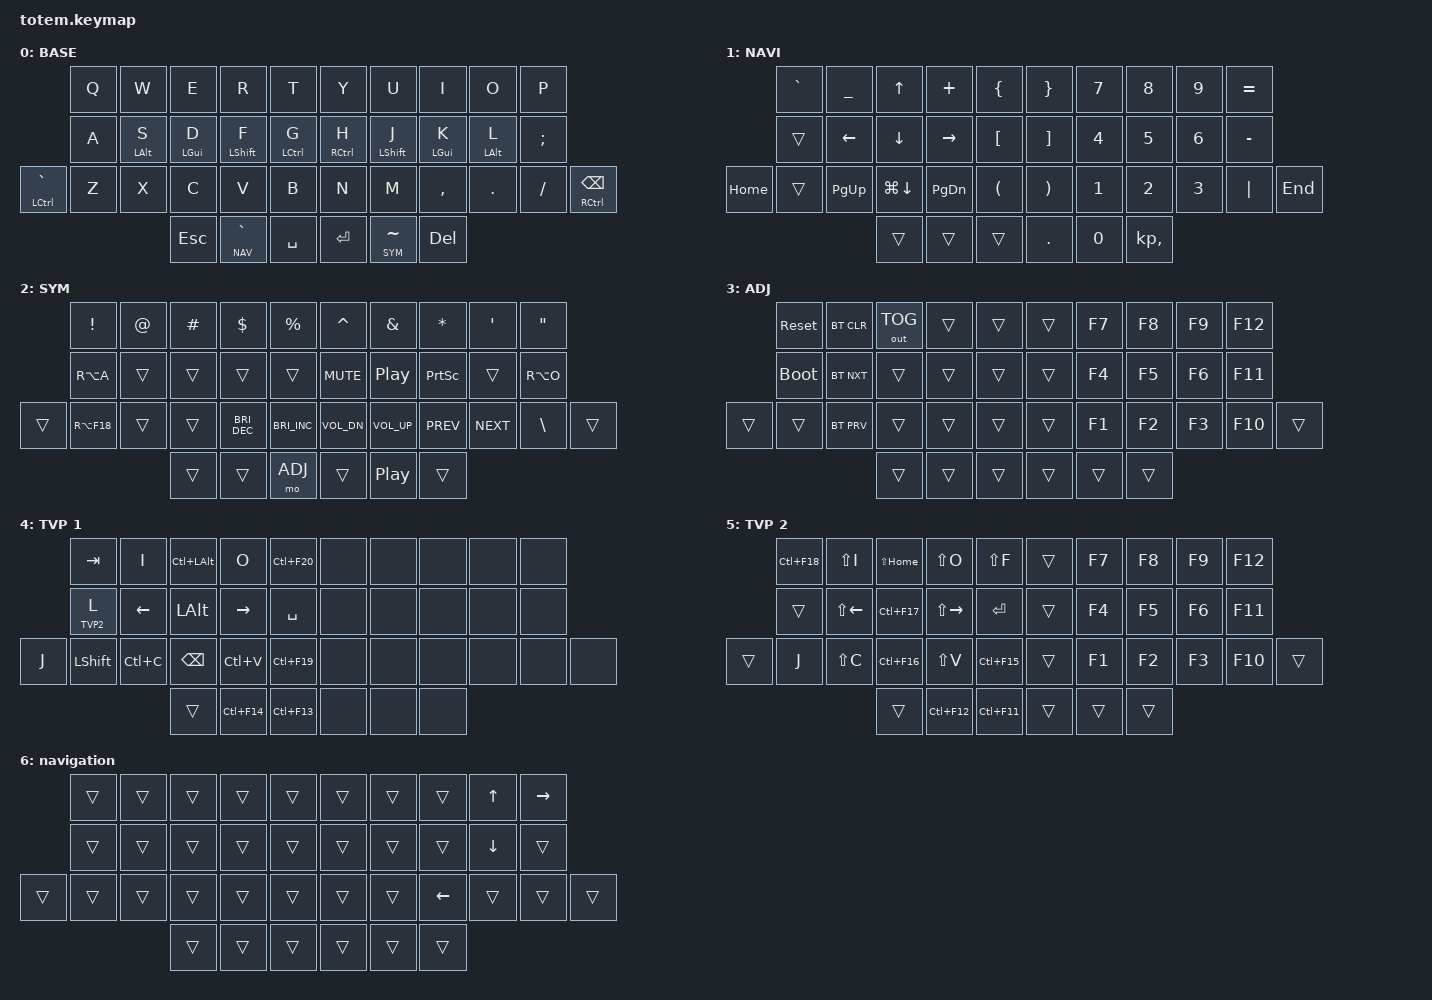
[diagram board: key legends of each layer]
//
//                                                        ▀▀▀▀▀     ▀▀▀▀▀          ▀▀█▀▀
//                                                        ▄▀▀▀▄  ▄  ▄▀▀▀▄  ▄  ▄▀▀▀▄  █  ▄▀▀▀▄
//                                                        █   █  █  █   █  █  █   █  █  █   █
//                                                         ▀▀▀   █   ▀▀▀   █   ▀▀▀   ▀   ▀▀▀
//                                                               █      ▄▄▄█▄▄▄    █   █  
//                                                               ▀      █  █  █     █▄█
//                                                             ▀▀▀▀▀    █  █  █      ▀
//                                                                      ▀  ▀  ▀
//
// ▄▄▄▄▄▄▄▄▄▄▄▄▄▄▄▄▄▄▄▄▄▄▄▄▄▄▄▄▄▄▄▄▄▄▄▄▄▄▄▄▄▄▄▄▄▄▄▄▄▄▄▄▄▄▄▄▄▄▄▄▄▄▄▄▄▄▄▄▄▄▄▄▄▄▄▄▄▄▄▄▄▄▄▄▄▄▄▄▄▄▄▄▄▄▄▄▄▄▄▄▄▄▄▄▄▄▄▄▄▄▄▄▄▄▄▄▄▄▄▄▄▄▄▄▄▄▄▄▄▄▄▄▄▄▄▄▄▄▄▄▄▄▄▄▄▄▄▄▄

#include <behaviors.dtsi>
#include <dt-bindings/zmk/bt.h>
#include <dt-bindings/zmk/keys.h>
#include <dt-bindings/zmk/outputs.h>

#define BASE 0
#define NAV  1
#define SYM  2
#define ADJ  3
#define TVP1 4
#define TVP2 5

&mt {
    quick-tap-ms = <150>;
    global-quick-tap;
    flavor = "tap-preferred";
    tapping-term-ms = <170>;
};

/ {
    combos {
        compatible = "zmk,combos";

        combo_tab {
            timeout-ms = <60>;
            key-positions = <1 2>;
            bindings = <&kp TAB>;
            require-prior-idle-ms = <120>;
        };

        dash {
            bindings = <&kp MINUS>;
            key-positions = <19 31>;
            timeout-ms = <70>;
        };

        tilde_combo {
            bindings = <&kp TILDE>;
            key-positions = <0 20>;
            timeout-ms = <60>;
            require-prior-idle-ms = <100>;
        };

        enter_combo {
            bindings = <&kp ENTER>;
            key-positions = <13 12 11>;
            timeout-ms = <70>;
            require-prior-idle-ms = <100>;
        };

        enter_right_combo {
            bindings = <&kp ENTER>;
            key-positions = <16 18 17>;
            timeout-ms = <70>;
            require-prior-idle-ms = <100>;
        };

        russian_letter_ {
            bindings = <&kp RIGHT_BRACKET>;
            key-positions = <8 9>;
            timeout-ms = <20>;
            require-prior-idle-ms = <100>;
        };

        russian_letter_x {
            bindings = <&kp LEFT_BRACKET>;
            key-positions = <8 7>;
            require-prior-idle-ms = <100>;
            timeout-ms = <20>;
        };

        combo_esc {
            bindings = <&kp ESC>;
            key-positions = <1 0>;
            timeout-ms = <60>;
            require-prior-idle-ms = <120>;
            layers = <0>;
        };
    };

    behaviors {
        mt_left: mt_left {
            compatible = "zmk,behavior-hold-tap";
            label = "MT_LEFT";
            bindings = <&kp>, <&kp>;

            #binding-cells = <2>;
            tapping-term-ms = <400>;
            quick-tap-ms = <170>;
            flavor = "balanced";
            hold-trigger-key-positions = <26 27 16 15 5 6 7 5 6 7 8 9 15 16 17 18 19 26 27 28 29 31 5 6 7 8 9 15 16 17 18 19 26 27 28 29 30 31 35 36 37 32 33 34>;
            require-prior-idle-ms = <50>;
            hold-trigger-on-release;
        };

        mt_right: mt_right {
            compatible = "zmk,behavior-hold-tap";
            label = "MT_RIGHT";
            bindings = <&kp>, <&kp>;

            #binding-cells = <2>;
            tapping-term-ms = <400>;
            quick-tap-ms = <170>;
            flavor = "balanced";
            require-prior-idle-ms = <50>;
            hold-trigger-on-release;
            hold-trigger-key-positions = <0 1 4 10 11 12 13 14 20 21 22 23 24 25 2 35 36 37 3 32 33 34>;
        };

        mt_thumb: mt_thumb {
            compatible = "zmk,behavior-hold-tap";
            label = "MT_THUMB";
            bindings = <&kp>, <&kp>;

            #binding-cells = <2>;
            quick-tap-ms = <220>;
            flavor = "balanced";
            tapping-term-ms = <100>;
            require-prior-idle-ms = <0>;
        };

        mt_shift_left: mt_shift_left {
            compatible = "zmk,behavior-hold-tap";
            label = "MT_SHIFT_LEFT";
            bindings = <&kp>, <&kp>;

            #binding-cells = <2>;
            tapping-term-ms = <175>;
            quick-tap-ms = <175>;
            flavor = "tap-preferred";
            hold-trigger-key-positions = <19 26 27 29 30 31 36 37 35 36 32 33 34 5 6 7 8 9 15 16 17 18 19 26 27 28 29 31>;
            require-prior-idle-ms = <20>;
        };

        mt_shift_right: mt_shift_right {
            compatible = "zmk,behavior-hold-tap";
            label = "MT_SHIFT_RIGHT";
            bindings = <&kp>, <&kp>;

            #binding-cells = <2>;
            tapping-term-ms = <175>;
            quick-tap-ms = <175>;
            flavor = "tap-preferred";
            hold-trigger-key-positions = <0 1 2 3 4 10 11 12 13 14 20 21 22 23 24 25 32 33 34 35 36 37>;
            require-prior-idle-ms = <20>;
        };

        hold_sticky: hold_sticky {
            compatible = "zmk,behavior-hold-tap";
            label = "HOLD_STICKY";
            bindings = <&kp>, <&sk>;

            #binding-cells = <2>;
            flavor = "hold-preferred";
            tapping-term-ms = <150>;
            quick-tap-ms = <220>;
        };

        mt_all: mt_all {
            compatible = "zmk,behavior-hold-tap";
            label = "MT_ALL";
            bindings = <&kp>, <&kp>;

            #binding-cells = <2>;
            tapping-term-ms = <175>;
            quick-tap-ms = <175>;
            flavor = "balanced";
            require-prior-idle-ms = <35>;
            hold-trigger-on-release;
        };
    };

    keymap {
        compatible = "zmk,keymap";

        // ▄▄▄▄▄▄▄▄▄▄▄▄▄▄▄▄▄▄▄▄▄▄▄▄▄▄▄▄▄▄▄▄▄▄▄▄▄▄▄▄▄▄▄▄▄▄▄▄▄▄▄▄▄▄▄▄▄▄▄▄▄▄▄▄▄▄▄▄▄▄▄▄▄▄▄▄▄▄▄▄▄▄▄▄▄▄▄▄▄▄▄▄▄▄▄▄▄▄▄▄▄▄▄▄▄▄▄▄▄▄▄▄▄▄▄▄▄▄▄▄▄▄▄▄▄▄▄▄▄▄▄▄▄▄▄▄▄▄▄▄▄▄▄▄▄▄▄▄▄

        base_layer {
            // ┏━━━━━━━━━━━━━━━━━━━━━━━━━━━━━━━━━━━━━━━┓

            label = "BASE";

            // ┗━━━━━━━━━━━━━━━━━━━━━━━━━━━━━━━━━━━━━━━┛
            //             ┏━━━━━━━━━━━┳━━━━━━━━━━━┳━━━━━━━━━━━┳━━━━━━━━━━━┳━━━━━━━━━━━┓   ┏━━━━━━━━━━━┳━━━━━━━━━━━┳━━━━━━━━━━━┳━━━━━━━━━━━┳━━━━━━━━━━━┓
            //             ┃     Q     ┃     W     ┃     F     ┃     P     ┃     G     ┃   ┃     J     ┃     L     ┃     U     ┃     Y     ┃     ;     ┃
            //             ┣━━━━━━━━━━━╋━━━━━━━━━━━╋━━━━━━━━━━━╋━━━━━━━━━━━╋━━━━━━━━━━━┫   ┣━━━━━━━━━━━╋━━━━━━━━━━━╋━━━━━━━━━━━╋━━━━━━━━━━━╋━━━━━━━━━━━┫
            //             ┃     A     ┃     R     ┃     S     ┃     T     ┃     D     ┃   ┃     H     ┃     N     ┃     E     ┃     I     ┃     O     ┃
            // ┏━━━━━━━━━━━╋━━━━━━━━━━━╋━━━━━━━━━━━╋━━━━━━━━━━━╋━━━━━━━━━━━╋━━━━━━━━━━━┫   ┣━━━━━━━━━━━╋━━━━━━━━━━━╋━━━━━━━━━━━╋━━━━━━━━━━━╋━━━━━━━━━━━╋━━━━━━━━━━━┓
            // ┃     Q     ┃     Z     ┃     X     ┃     C     ┃     V     ┃     B     ┃   ┃     K     ┃     M     ┃     ,     ┃     .     ┃     /     ┃     \     ┃
            // ┗━━━━━━━━━━━┻━━━━━━━━━━━┻━━━━━━━━━━━╋━━━━━━━━━━━╋━━━━━━━━━━━╋━━━━━━━━━━━┫   ┣━━━━━━━━━━━╋━━━━━━━━━━━╋━━━━━━━━━━━╋━━━━━━━━━━━┻━━━━━━━━━━━┻━━━━━━━━━━━┛
            //                                     ┃    DEL    ┃    TAB    ┃    SPC    ┃   ┃   ENTER   ┃           ┃   BSPC    ┃
            //                                     ┗━━━━━━━━━━━┻━━━━━━━━━━━┻━━━━━━━━━━━┛   ┗━━━━━━━━━━━┻━━━━━━━━━━━┻━━━━━━━━━━━┛

            bindings = <
                            &kp Q  &kp W                  &kp E            &kp R                    &kp T               &kp Y              &kp U                     &kp I             &kp O                   &kp P
                            &kp A  &mt_shift_left LALT S  &mt_left LGUI D  &mt_shift_left LSHIFT F  &mt_left LCTRL G    &mt_right RCTRL H  &mt_shift_right LSHIFT J  &mt_right LGUI K  &mt_shift_right LALT L  &kp SEMICOLON
&mt_all LEFT_CONTROL GRAVE  &kp Z  &kp X                  &kp C            &kp V                    &kp B               &kp N              &kp M                     &kp COMMA         &kp DOT                 &kp FSLH       &mt_all RCTRL BACKSPACE
                                                          &kp ESCAPE       &lt NAV GRAVE            &kp SPACE           &kp ENTER          &lt SYM TILDE             &kp DELETE
            >;
        };

        // ▄▄▄▄▄▄▄▄▄▄▄▄▄▄▄▄▄▄▄▄▄▄▄▄▄▄▄▄▄▄▄▄▄▄▄▄▄▄▄▄▄▄▄▄▄▄▄▄▄▄▄▄▄▄▄▄▄▄▄▄▄▄▄▄▄▄▄▄▄▄▄▄▄▄▄▄▄▄▄▄▄▄▄▄▄▄▄▄▄▄▄▄▄▄▄▄▄▄▄▄▄▄▄▄▄▄▄▄▄▄▄▄▄▄▄▄▄▄▄▄▄▄▄▄▄▄▄▄▄▄▄▄▄▄▄▄▄▄▄▄▄▄▄▄▄▄▄▄▄

        nav_layer {
            // ┏━━━━━━━━━━━━━━━━━━━━━━━━━━━━━━━━━━━━━━━┓

            label = "NAVI";

            // ┗━━━━━━━━━━━━━━━━━━━━━━━━━━━━━━━━━━━━━━━┛
            //             ┏━━━━━━━━━━━┳━━━━━━━━━━━┳━━━━━━━━━━━┳━━━━━━━━━━━┳━━━━━━━━━━━┓   ┏━━━━━━━━━━━┳━━━━━━━━━━━┳━━━━━━━━━━━┳━━━━━━━━━━━┳━━━━━━━━━━━┓
            //             ┃           ┃           ┃     UP    ┃           ┃     {     ┃   ┃     }     ┃     7     ┃     8     ┃     9     ┃     +     ┃
            //             ┣━━━━━━━━━━━╋━━━━━━━━━━━╋━━━━━━━━━━━╋━━━━━━━━━━━╋━━━━━━━━━━━┫   ┣━━━━━━━━━━━╋━━━━━━━━━━━╋━━━━━━━━━━━╋━━━━━━━━━━━╋━━━━━━━━━━━┫
            //             ┃   SHIFT   ┃   LEFT    ┃    DOWN   ┃   RIGHT   ┃     [     ┃   ┃     ]     ┃     4     ┃     5     ┃     6     ┃     -     ┃
            // ┏━━━━━━━━━━━╋━━━━━━━━━━━╋━━━━━━━━━━━╋━━━━━━━━━━━╋━━━━━━━━━━━╋━━━━━━━━━━━┫   ┣━━━━━━━━━━━╋━━━━━━━━━━━╋━━━━━━━━━━━╋━━━━━━━━━━━╋━━━━━━━━━━━╋━━━━━━━━━━━┓
            // ┃           ┃           ┃   P UP    ┃  C LOCK   ┃  P DOWN   ┃     (     ┃   ┃     )     ┃     1     ┃     2     ┃     3     ┃     *     ┃           ┃
            // ┗━━━━━━━━━━━┻━━━━━━━━━━━┻━━━━━━━━━━━╋━━━━━━━━━━━╋━━━━━━━━━━━╋━━━━━━━━━━━┫   ┣━━━━━━━━━━━╋━━━━━━━━━━━╋━━━━━━━━━━━╋━━━━━━━━━━━┻━━━━━━━━━━━┻━━━━━━━━━━━┛
            //                                     ┃           ┃    TAB    ┃    SPC    ┃   ┃    DEL    ┃     0     ┃           ┃
            //                                     ┗━━━━━━━━━━━┻━━━━━━━━━━━┻━━━━━━━━━━━┛   ┗━━━━━━━━━━━┻━━━━━━━━━━━┻━━━━━━━━━━━┛

            bindings = <
          &kp GRAVE  &kp UNDER       &kp UP          &kp PLUS         &kp LBRC    &kp RBRC    &kp N7        &kp N8        &kp N9        &kp EQUAL
          &trans     &kp LEFT_ARROW  &kp DOWN_ARROW  &kp RIGHT_ARROW  &kp LBKT    &kp RBKT    &kp NUMBER_4  &kp N5        &kp NUMBER_6  &kp MINUS
&kp HOME  &trans     &kp PG_UP       &kp LG(DOWN)    &kp PG_DN        &kp LPAR    &kp RPAR    &kp NUMBER_1  &kp N2        &kp N3        &kp PIPE   &kp END
                                     &trans          &trans           &trans      &kp PERIOD  &kp N0        &kp KP_COMMA
            >;
        };

        // ▄▄▄▄▄▄▄▄▄▄▄▄▄▄▄▄▄▄▄▄▄▄▄▄▄▄▄▄▄▄▄▄▄▄▄▄▄▄▄▄▄▄▄▄▄▄▄▄▄▄▄▄▄▄▄▄▄▄▄▄▄▄▄▄▄▄▄▄▄▄▄▄▄▄▄▄▄▄▄▄▄▄▄▄▄▄▄▄▄▄▄▄▄▄▄▄▄▄▄▄▄▄▄▄▄▄▄▄▄▄▄▄▄▄▄▄▄▄▄▄▄▄▄▄▄▄▄▄▄▄▄▄▄▄▄▄▄▄▄▄▄▄▄▄▄▄▄▄▄

        sim_layer {
            // ┏━━━━━━━━━━━━━━━━━━━━━━━━━━━━━━━━━━━━━━━┓

            label = "SYM";

            // ┗━━━━━━━━━━━━━━━━━━━━━━━━━━━━━━━━━━━━━━━┛
            //             ┏━━━━━━━━━━━┳━━━━━━━━━━━┳━━━━━━━━━━━┳━━━━━━━━━━━┳━━━━━━━━━━━┓   ┏━━━━━━━━━━━┳━━━━━━━━━━━┳━━━━━━━━━━━┳━━━━━━━━━━━┳━━━━━━━━━━━┓
            //             ┃     !     ┃     @     ┃     #     ┃     $     ┃     %     ┃   ┃     ˆ     ┃     &     ┃     Ü     ┃     '     ┃     "     ┃
            //             ┣━━━━━━━━━━━╋━━━━━━━━━━━╋━━━━━━━━━━━╋━━━━━━━━━━━╋━━━━━━━━━━━┫   ┣━━━━━━━━━━━╋━━━━━━━━━━━╋━━━━━━━━━━━╋━━━━━━━━━━━╋━━━━━━━━━━━┫
            //             ┃     Ä     ┃           ┃    SZ     ┃           ┃           ┃   ┃   MUTE    ┃   YEN     ┃   EURO    ┃  POUND    ┃     Ö     ┃
            // ┏━━━━━━━━━━━╋━━━━━━━━━━━╋━━━━━━━━━━━╋━━━━━━━━━━━╋━━━━━━━━━━━╋━━━━━━━━━━━┫   ┣━━━━━━━━━━━╋━━━━━━━━━━━╋━━━━━━━━━━━╋━━━━━━━━━━━╋━━━━━━━━━━━╋━━━━━━━━━━━┓
            // ┃           ┃  EMAIL1   ┃  EMAIL2   ┃           ┃           ┃           ┃   ┃   VOL-    ┃   VOL+    ┃   LAST    ┃   NEXT    ┃     \     ┃           ┃
            // ┗━━━━━━━━━━━┻━━━━━━━━━━━┻━━━━━━━━━━━╋━━━━━━━━━━━╋━━━━━━━━━━━╋━━━━━━━━━━━┫   ┣━━━━━━━━━━━╋━━━━━━━━━━━╋━━━━━━━━━━━╋━━━━━━━━━━━┻━━━━━━━━━━━┻━━━━━━━━━━━┛
            //                                     ┃           ┃    GIF    ┃    ADJ    ┃   ┃           ┃           ┃           ┃
            //                                     ┗━━━━━━━━━━━┻━━━━━━━━━━━┻━━━━━━━━━━━┛   ┗━━━━━━━━━━━┻━━━━━━━━━━━┻━━━━━━━━━━━┛

            bindings = <
        &kp EXCL     &kp AT  &kp HASH  &kp DLLR       &kp PRCNT               &kp CARET     &kp AMPS          &kp ASTERISK  &kp SQT     &kp DQT
        &kp RA(A)    &trans  &trans    &trans         &trans                  &kp C_MUTE    &kp C_PLAY_PAUSE  &kp PSCRN     &trans      &kp RA(O)
&trans  &kp RA(F18)  &trans  &trans    &kp C_BRI_DEC  &kp C_BRIGHTNESS_INC    &kp C_VOL_DN  &kp C_VOL_UP      &kp C_PREV    &kp C_NEXT  &kp BSLH   &trans
                             &trans    &trans         &mo ADJ                 &trans        &kp C_PP          &trans
            >;
        };

        // ▄▄▄▄▄▄▄▄▄▄▄▄▄▄▄▄▄▄▄▄▄▄▄▄▄▄▄▄▄▄▄▄▄▄▄▄▄▄▄▄▄▄▄▄▄▄▄▄▄▄▄▄▄▄▄▄▄▄▄▄▄▄▄▄▄▄▄▄▄▄▄▄▄▄▄▄▄▄▄▄▄▄▄▄▄▄▄▄▄▄▄▄▄▄▄▄▄▄▄▄▄▄▄▄▄▄▄▄▄▄▄▄▄▄▄▄▄▄▄▄▄▄▄▄▄▄▄▄▄▄▄▄▄▄▄▄▄▄▄▄▄▄▄▄▄▄▄▄▄

        adjust_layer {
            // ┏━━━━━━━━━━━━━━━━━━━━━━━━━━━━━━━━━━━━━━━┓

            label = "ADJ";

            // ┗━━━━━━━━━━━━━━━━━━━━━━━━━━━━━━━━━━━━━━━┛
            //             ┏━━━━━━━━━━━┳━━━━━━━━━━━┳━━━━━━━━━━━┳━━━━━━━━━━━┳━━━━━━━━━━━┓   ┏━━━━━━━━━━━┳━━━━━━━━━━━┳━━━━━━━━━━━┳━━━━━━━━━━━┳━━━━━━━━━━━┓
            //             ┃   RESET   ┃ BT CLEAR  ┃  OUT TOG  ┃           ┃           ┃   ┃           ┃    F7     ┃    F8     ┃    F9     ┃    F12    ┃
            //             ┣━━━━━━━━━━━╋━━━━━━━━━━━╋━━━━━━━━━━━╋━━━━━━━━━━━╋━━━━━━━━━━━┫   ┣━━━━━━━━━━━╋━━━━━━━━━━━╋━━━━━━━━━━━╋━━━━━━━━━━━╋━━━━━━━━━━━┫
            //             ┃ BOOTLOAD  ┃ BT NEXT   ┃           ┃           ┃           ┃   ┃           ┃    F4     ┃    F5     ┃    F6     ┃    F11    ┃
            // ┏━━━━━━━━━━━╋━━━━━━━━━━━╋━━━━━━━━━━━╋━━━━━━━━━━━╋━━━━━━━━━━━╋━━━━━━━━━━━┫   ┣━━━━━━━━━━━╋━━━━━━━━━━━╋━━━━━━━━━━━╋━━━━━━━━━━━╋━━━━━━━━━━━╋━━━━━━━━━━━┓
            // ┃           ┃           ┃ BT PREV   ┃           ┃           ┃           ┃   ┃           ┃    F1     ┃    F2     ┃    F3     ┃    F10    ┃           ┃
            // ┗━━━━━━━━━━━┻━━━━━━━━━━━┻━━━━━━━━━━━╋━━━━━━━━━━━╋━━━━━━━━━━━╋━━━━━━━━━━━┫   ┣━━━━━━━━━━━╋━━━━━━━━━━━╋━━━━━━━━━━━╋━━━━━━━━━━━┻━━━━━━━━━━━┻━━━━━━━━━━━┛
            //                                     ┃           ┃           ┃           ┃   ┃           ┃           ┃           ┃
            //                                     ┗━━━━━━━━━━━┻━━━━━━━━━━━┻━━━━━━━━━━━┛   ┗━━━━━━━━━━━┻━━━━━━━━━━━┻━━━━━━━━━━━┛

            bindings = <
        &sys_reset   &bt BT_CLR  &out OUT_TOG  &trans  &trans    &trans  &kp F7  &kp F8  &kp F9  &kp F12
        &bootloader  &bt BT_NXT  &trans        &trans  &trans    &trans  &kp F4  &kp F5  &kp F6  &kp F11
&trans  &trans       &bt BT_PRV  &trans        &trans  &trans    &trans  &kp F1  &kp F2  &kp F3  &kp F10  &trans
                                 &trans        &trans  &trans    &trans  &trans  &trans
            >;
        };

        // ▄▄▄▄▄▄▄▄▄▄▄▄▄▄▄▄▄▄▄▄▄▄▄▄▄▄▄▄▄▄▄▄▄▄▄▄▄▄▄▄▄▄▄▄▄▄▄▄▄▄▄▄▄▄▄▄▄▄▄▄▄▄▄▄▄▄▄▄▄▄▄▄▄▄▄▄▄▄▄▄▄▄▄▄▄▄▄▄▄▄▄▄▄▄▄▄▄▄▄▄▄▄▄▄▄▄▄▄▄▄▄▄▄▄▄▄▄▄▄▄▄▄▄▄▄▄▄▄▄▄▄▄▄▄▄▄▄▄▄▄▄▄▄▄▄▄▄▄▄

        tvp1_layer {
            // ┏━━━━━━━━━━━━━━━━━━━━━━━━━━━━━━━━━━━━━━━┓

            label = "TVP 1";

            // ┗━━━━━━━━━━━━━━━━━━━━━━━━━━━━━━━━━━━━━━━┛
            //             ┏━━━━━━━━━━━┳━━━━━━━━━━━┳━━━━━━━━━━━┳━━━━━━━━━━━┳━━━━━━━━━━━┓   ┏━━━━━━━━━━━┳━━━━━━━━━━━┳━━━━━━━━━━━┳━━━━━━━━━━━┳━━━━━━━━━━━┓
            //             ┃ NEXT FILE ┃ MARK IN   ┃ ROTATE    ┃ MARK OUT  ┃ SHOW SNAP ┃   ┃           ┃           ┃           ┃           ┃           ┃
            //             ┣━━━━━━━━━━━╋━━━━━━━━━━━╋━━━━━━━━━━━╋━━━━━━━━━━━╋━━━━━━━━━━━┫   ┣━━━━━━━━━━━╋━━━━━━━━━━━╋━━━━━━━━━━━╋━━━━━━━━━━━╋━━━━━━━━━━━┫
            //             ┃ TVP II    ┃ LEFT      ┃ PAN       ┃ RIGHT     ┃ PLAY/FLIP ┃   ┃           ┃           ┃           ┃           ┃           ┃
            // ┏━━━━━━━━━━━╋━━━━━━━━━━━╋━━━━━━━━━━━╋━━━━━━━━━━━╋━━━━━━━━━━━╋━━━━━━━━━━━┫   ┣━━━━━━━━━━━╋━━━━━━━━━━━╋━━━━━━━━━━━╋━━━━━━━━━━━╋━━━━━━━━━━━╋━━━━━━━━━━━┓
            // ┃ FULLSCR   ┃ SHIFT     ┃ COPY      ┃ DELETE    ┃ PASTE     ┃ IMG MARK  ┃   ┃           ┃           ┃           ┃           ┃           ┃           ┃
            // ┗━━━━━━━━━━━┻━━━━━━━━━━━┻━━━━━━━━━━━╋━━━━━━━━━━━╋━━━━━━━━━━━╋━━━━━━━━━━━┫   ┣━━━━━━━━━━━╋━━━━━━━━━━━╋━━━━━━━━━━━╋━━━━━━━━━━━┻━━━━━━━━━━━┻━━━━━━━━━━━┛
            //                                     ┃           ┃ UNDO/SAVE ┃  SEL/MOV  ┃   ┃           ┃           ┃           ┃
            //                                     ┗━━━━━━━━━━━┻━━━━━━━━━━━┻━━━━━━━━━━━┛   ┗━━━━━━━━━━━┻━━━━━━━━━━━┻━━━━━━━━━━━┛

            bindings = <
       &kp TAB     &kp I      &kp LC(LALT)  &kp O        &kp LC(F20)    &none  &none  &none  &none  &none
       &lt TVP2 L  &kp LEFT   &kp LALT      &kp RIGHT    &kp SPACE      &none  &none  &none  &none  &none
&kp J  &kp LSHFT   &kp LC(C)  &kp BSPC      &kp LC(V)    &kp LC(F19)    &none  &none  &none  &none  &none  &none
                              &trans        &kp LC(F14)  &kp LC(F13)    &none  &none  &none
            >;
        };

        // ▄▄▄▄▄▄▄▄▄▄▄▄▄▄▄▄▄▄▄▄▄▄▄▄▄▄▄▄▄▄▄▄▄▄▄▄▄▄▄▄▄▄▄▄▄▄▄▄▄▄▄▄▄▄▄▄▄▄▄▄▄▄▄▄▄▄▄▄▄▄▄▄▄▄▄▄▄▄▄▄▄▄▄▄▄▄▄▄▄▄▄▄▄▄▄▄▄▄▄▄▄▄▄▄▄▄▄▄▄▄▄▄▄▄▄▄▄▄▄▄▄▄▄▄▄▄▄▄▄▄▄▄▄▄▄▄▄▄▄▄▄▄▄▄▄▄▄▄▄

        tvp2_layer {
            // ┏━━━━━━━━━━━━━━━━━━━━━━━━━━━━━━━━━━━━━━━┓

            label = "TVP 2";

            // ┗━━━━━━━━━━━━━━━━━━━━━━━━━━━━━━━━━━━━━━━┛
            //             ┏━━━━━━━━━━━┳━━━━━━━━━━━┳━━━━━━━━━━━┳━━━━━━━━━━━┳━━━━━━━━━━━┓   ┏━━━━━━━━━━━┳━━━━━━━━━━━┳━━━━━━━━━━━┳━━━━━━━━━━━┳━━━━━━━━━━━┓
            //             ┃ SOLO      ┃ TOGGLE IN ┃ RESET ROT ┃ TOGGLE OUT┃ TAKE SNAP ┃   ┃           ┃           ┃           ┃           ┃           ┃
            //             ┣━━━━━━━━━━━╋━━━━━━━━━━━╋━━━━━━━━━━━╋━━━━━━━━━━━╋━━━━━━━━━━━┫   ┣━━━━━━━━━━━╋━━━━━━━━━━━╋━━━━━━━━━━━╋━━━━━━━━━━━╋━━━━━━━━━━━┫
            //             ┃ ---       ┃ LAST KEY  ┃ NEW KEY   ┃ NEXT KEY  ┃ ENTER     ┃   ┃           ┃           ┃           ┃           ┃           ┃
            // ┏━━━━━━━━━━━╋━━━━━━━━━━━╋━━━━━━━━━━━╋━━━━━━━━━━━╋━━━━━━━━━━━╋━━━━━━━━━━━┫   ┣━━━━━━━━━━━╋━━━━━━━━━━━╋━━━━━━━━━━━╋━━━━━━━━━━━╋━━━━━━━━━━━╋━━━━━━━━━━━┓
            // ┃           ┃ FULLSCR   ┃ CPY2BRUSH ┃ DEL HEAD  ┃ PSTinPLACE┃ BOOK MARK ┃   ┃           ┃           ┃           ┃           ┃           ┃           ┃
            // ┗━━━━━━━━━━━┻━━━━━━━━━━━┻━━━━━━━━━━━╋━━━━━━━━━━━╋━━━━━━━━━━━╋━━━━━━━━━━━┫   ┣━━━━━━━━━━━╋━━━━━━━━━━━╋━━━━━━━━━━━╋━━━━━━━━━━━┻━━━━━━━━━━━┻━━━━━━━━━━━┛
            //                                     ┃           ┃ REDO/SAV1 ┃TRANS/WARP ┃   ┃           ┃           ┃           ┃
            //                                     ┗━━━━━━━━━━━┻━━━━━━━━━━━┻━━━━━━━━━━━┛   ┗━━━━━━━━━━━┻━━━━━━━━━━━┻━━━━━━━━━━━┛

            bindings = <
        &kp LC(F18)  &kp LS(I)     &kp LS(HOME)  &kp LS(O)      &kp LS(F)      &trans  &kp F7  &kp F8  &kp F9  &kp F12
        &trans       &kp LS(LEFT)  &kp LC(F17)   &kp LS(RIGHT)  &kp RET        &trans  &kp F4  &kp F5  &kp F6  &kp F11
&trans  &kp J        &kp LS(C)     &kp LC(F16)   &kp LS(V)      &kp LC(F15)    &trans  &kp F1  &kp F2  &kp F3  &kp F10  &trans
                                   &trans        &kp LC(F12)    &kp LC(F11)    &trans  &trans  &trans
            >;
        };

        navigation {
            bindings = <
        &trans  &trans  &trans  &trans  &trans    &trans  &trans  &trans    &kp UP_ARROW  &kp RIGHT
        &trans  &trans  &trans  &trans  &trans    &trans  &trans  &trans    &kp DOWN      &trans
&trans  &trans  &trans  &trans  &trans  &trans    &trans  &trans  &kp LEFT  &trans        &trans     &trans
                        &trans  &trans  &trans    &trans  &trans  &trans
            >;
        };
    };
};
